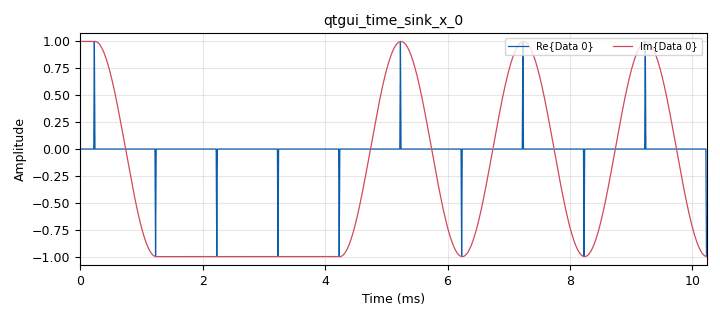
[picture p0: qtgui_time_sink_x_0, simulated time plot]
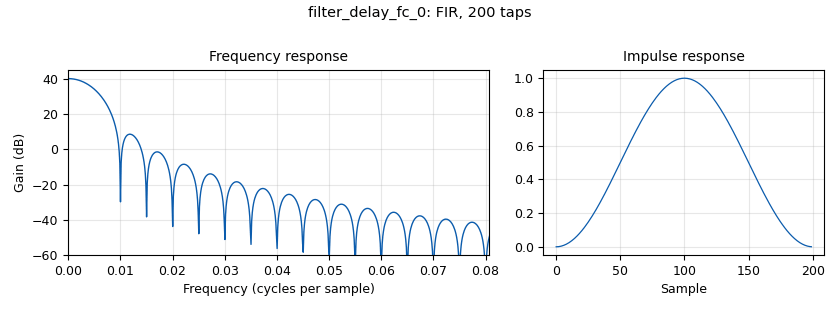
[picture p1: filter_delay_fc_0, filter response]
options:
  parameters:
    generate_options: qt_gui
    id: impulse_pulse_shaping
    output_language: python
    title: Impulse pulse shaping
  states: {}

blocks:
- name: RC2_taps
  id: variable
  parameters:
    value: 0.5*(1-np.cos(np.pi*np.arange(0,2/symbol_rate,1/samp_rate)*symbol_rate))
  states: {}
- name: samp_rate
  id: variable
  parameters:
    value: '100000'
  states: {}
- name: symbol_rate
  id: variable
  parameters:
    value: '1000'
  states: {}
- name: blocks_throttle_0
  id: blocks_throttle
  parameters:
    samples_per_second: samp_rate
    type: float
  states: {}
- name: digital_glfsr_source_x_0
  id: digital_glfsr_source_x
  parameters:
    degree: '10'
    mask: '0'
    repeat: 'True'
    seed: '1'
    type: float
  states: {}
- name: filter_delay_fc_0
  id: filter_delay_fc
  parameters:
    taps: RC2_taps
  states: {}
- name: import_0
  id: import
  parameters:
    imports: import numpy as np
  states: {}
- name: interp_fir_filter_xxx_0
  id: interp_fir_filter_xxx
  parameters:
    interp: samp_rate//symbol_rate
    taps: '1'
    type: fff
  states: {}
- name: qtgui_time_sink_x_0
  id: qtgui_time_sink_x
  parameters:
    size: '1024'
    srate: samp_rate
    type: complex
  states: {}

connections:
- [blocks_throttle_0, '0', filter_delay_fc_0, '0']
- [digital_glfsr_source_x_0, '0', interp_fir_filter_xxx_0, '0']
- [filter_delay_fc_0, '0', qtgui_time_sink_x_0, '0']
- [interp_fir_filter_xxx_0, '0', blocks_throttle_0, '0']

metadata:
  file_format: 1
